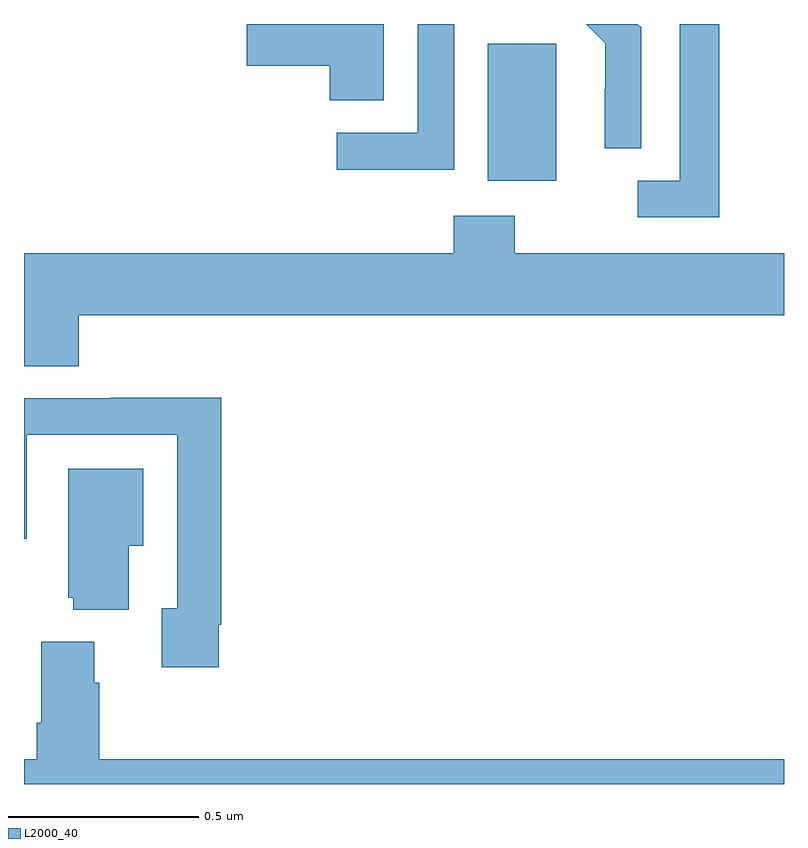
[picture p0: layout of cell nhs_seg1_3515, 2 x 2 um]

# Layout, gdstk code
import gdstk
lib = gdstk.Library(unit=1e-6, precision=1e-09)
def R(c, l, rs):  # rectangles x0, y0, x1, y1
    for r in rs: c.add(gdstk.rectangle(r[:2], r[2:], *l))
def P(c, l, *ps):  # polygons
    for p in ps: c.add(gdstk.Polygon(p, *l))
L2000_40 = (2000, 40)

nhs_seg1_3515 = lib.new_cell('nhs_seg1_3515')
R(nhs_seg1_3515, L2000_40, [(156.221,518.786,156.4,519.147)])
P(nhs_seg1_3515, L2000_40, [(156.132,519.199),(156.036,519.199),(156.036,518.913),(155.823,518.913),(155.823,518.815),(156.132,518.815)],
  [(156.624,519.19),(156.615,519.199),(156.479,519.199),(156.53,519.149),(156.53,519.026),(156.528,519.026),(156.528,518.872),(156.624,518.872)],
  [(155.947,519.199),(155.586,519.199),(155.586,519.089),(155.804,519.089),(155.804,518.998),(155.947,518.998)],
  [(156.829,519.199),(156.725,519.199),(156.725,518.787),(156.615,518.787),(156.615,518.691),(156.829,518.691)],
  [(155.144,518.432),(157,518.432),(157,518.596),(156.291,518.596),(156.291,518.695),(156.131,518.695),(156.131,518.596),(155,518.596),(155,518.299),(155.144,518.299)],
  [(155.512,517.618),(155.519,517.618),(155.519,518.216),(155.227,518.216),(155.227,518.214),(155,518.214),(155,517.845),(155.007,517.845),(155.007,518.118),(155.403,518.118),(155.403,517.662),(155.363,517.662),(155.363,517.506),(155.512,517.506)],
  [(155.275,517.826),(155.314,517.826),(155.314,518.029),(155.117,518.029),(155.117,517.689),(155.129,517.689),(155.129,517.658),(155.275,517.658)],
  [(157,517.264),(155.198,517.264),(155.198,517.466),(155.185,517.466),(155.185,517.573),(155.045,517.573),(155.045,517.36),(155.033,517.36),(155.033,517.264),(155,517.264),(155,517.199),(157,517.199)])

lib.write_gds('nhs_seg1_3515.gds')
